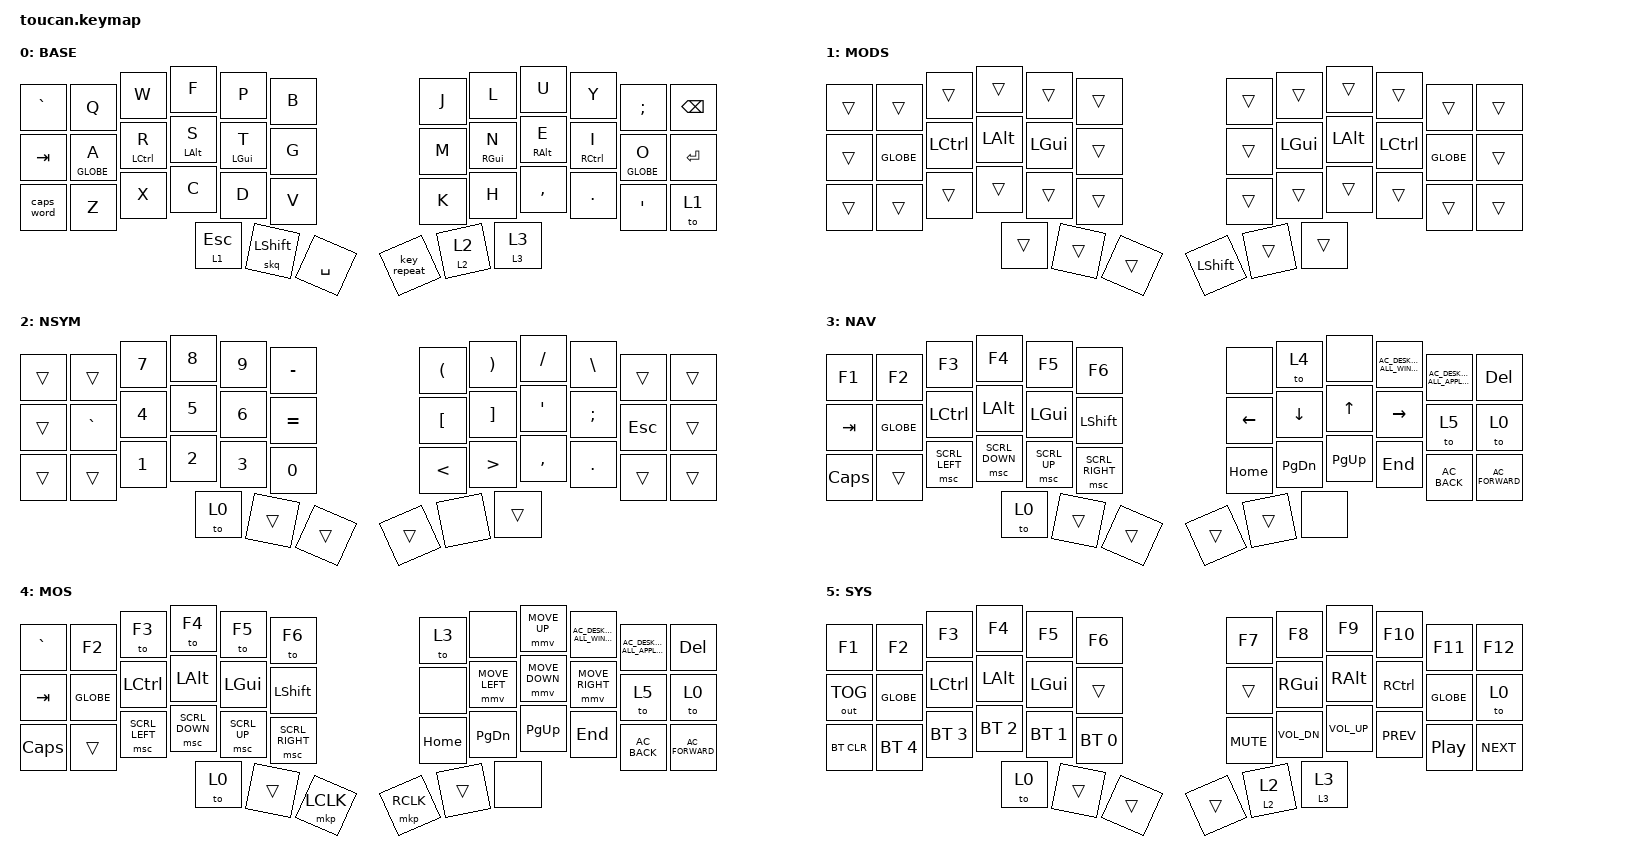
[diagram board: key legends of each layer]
#define ZMK_POINTING_DEFAULT_MOVE_VAL 20000
#define ZMK_POINTING_DEFAULT_SCRL_VAL 100

#include <behaviors.dtsi>
#include <dt-bindings/zmk/bt.h>
#include <dt-bindings/zmk/keys.h>
#include <dt-bindings/zmk/pointing.h>
#include <dt-bindings/zmk/outputs.h>

#define BASE 0
#define MODS 1
#define NUM_SYM 2
#define NAV 3
#define MOUSE 4
#define SYS 5

// dt-formatter: indent = "  "
// dt-formatter: reindentMultilineIntegerCells = "dedent"

&mmv { acceleration-exponent = <0>; };

/ {
  behaviors {
    hm: homerow_mods {
      compatible = "zmk,behavior-hold-tap";
      label = "HOMEROW_MODS";
      #binding-cells = <2>;
      tapping-term-ms = <300>;
      flavor = "balanced";
      bindings = <&kp>, <&kp>;

      quick-tap-ms = <200>;
      require-prior-idle-ms = <500>;
    };

    skq: sticky_key_quick_release {
      compatible = "zmk,behavior-sticky-key";
      bindings = <&kp>;
      #binding-cells = <1>;
      release-after-ms = <400>;
      quick-release;
      ignore-modifiers;
    };

    slq: slq {
      compatible = "zmk,behavior-sticky-key";
      label = "SLQ";
      bindings = <&mo>;
      #binding-cells = <1>;
      release-after-ms = <2000>;
      quick-release;
      ignore-modifiers;
    };

    moto: moto {
      compatible = "zmk,behavior-hold-tap";
      label = "MOTO";
      bindings = <&mo>, <&to>;

      #binding-cells = <2>;
      flavor = "hold-preferred";
      tapping-term-ms = <300>;
    };

    tm: tm {
      compatible = "zmk,behavior-hold-tap";
      label = "TM";
      bindings = <&mo>, <&kp>;

      #binding-cells = <2>;
      tapping-term-ms = <250>;
      hold-trigger-key-positions = <16 15 14 13 19 20 21 22>;
    };
  };

  combos { compatible = "zmk,combos"; };

  keymap {
    compatible = "zmk,keymap";

    base {
      display-name = "BASE";
      bindings = <
&kp GRAVE   &kp Q        &kp W        &kp F       &kp P       &kp B        &kp J        &kp L       &kp U       &kp Y        &kp SEMI     &kp BSPC
&kp TAB     &hm GLOBE A  &hm LCTRL R  &hm LALT S  &hm LGUI T  &kp G        &kp M        &hm RGUI N  &hm RALT E  &hm RCTRL I  &hm GLOBE O  &kp ENTER
&caps_word  &kp Z        &kp X        &kp C       &kp D       &kp V        &kp K        &kp H       &kp COMMA   &kp DOT      &kp SQT      &to 1
                                      &tm 1 ESC   &skq LSHFT  &kp SPACE    &key_repeat  &moto 2 2   &moto 3 3
      >;
    };

    mods {
      display-name = "MODS";
      bindings = <
&trans  &trans     &trans     &trans    &trans    &trans    &trans      &trans    &trans    &trans     &trans     &trans
&trans  &kp GLOBE  &kp LCTRL  &kp LALT  &kp LGUI  &trans    &trans      &kp LGUI  &kp LALT  &kp LCTRL  &kp GLOBE  &trans
&trans  &trans     &trans     &trans    &trans    &trans    &trans      &trans    &trans    &trans     &trans     &trans
                              &trans    &trans    &trans    &kp LSHIFT  &trans    &trans
      >;
    };

    num+symbols {
      display-name = "NSYM";
      bindings = <
&trans  &trans     &kp N7  &kp N8  &kp N9  &kp MINUS    &kp LEFT_PARENTHESIS  &kp RIGHT_PARENTHESIS  &kp FSLH   &kp BSLH  &trans   &trans
&trans  &kp GRAVE  &kp N4  &kp N5  &kp N6  &kp EQUAL    &kp LBKT              &kp RBKT               &kp SQT    &kp SEMI  &kp ESC  &trans
&trans  &trans     &kp N1  &kp N2  &kp N3  &kp N0       &kp LESS_THAN         &kp GREATER_THAN       &kp COMMA  &kp DOT   &trans   &trans
                           &to 0   &trans  &trans       &trans                &none                  &trans
      >;
    };

    nav+scrl {
      display-name = "NAV";
      bindings = <
&kp F1        &kp F2     &kp F3          &kp F4          &kp F5        &kp F6             &none     &to 4      &none      &kp C_AC_DESKTOP_SHOW_ALL_WINDOWS  &kp C_AC_DESKTOP_SHOW_ALL_APPLICATIONS  &kp DELETE
&kp TAB       &kp GLOBE  &kp LCTRL       &kp LALT        &kp LGUI      &kp LSHFT          &kp LEFT  &kp DOWN   &kp UP     &kp RIGHT                          &to 5                                   &to 0
&kp CAPSLOCK  &trans     &msc SCRL_LEFT  &msc SCRL_DOWN  &msc SCRL_UP  &msc SCRL_RIGHT    &kp HOME  &kp PG_DN  &kp PG_UP  &kp END                            &kp C_AC_BACK                           &kp C_AC_FORWARD
                                         &to 0           &trans        &trans             &trans    &trans     &none
      >;
    };

    MOUSE {
      display-name = "MOS";
      bindings = <
&kp GRAVE     &kp F2     &to F3          &to F4          &to F5        &to F6             &to 3      &none           &mmv MOVE_UP    &kp C_AC_DESKTOP_SHOW_ALL_WINDOWS  &kp C_AC_DESKTOP_SHOW_ALL_APPLICATIONS  &kp DELETE
&kp TAB       &kp GLOBE  &kp LCTRL       &kp LALT        &kp LGUI      &kp LSHFT          &none      &mmv MOVE_LEFT  &mmv MOVE_DOWN  &mmv MOVE_RIGHT                    &to 5                                   &to 0
&kp CAPSLOCK  &trans     &msc SCRL_LEFT  &msc SCRL_DOWN  &msc SCRL_UP  &msc SCRL_RIGHT    &kp HOME   &kp PG_DN       &kp PG_UP       &kp END                            &kp C_AC_BACK                           &kp C_AC_FORWARD
                                         &to 0           &trans        &mkp LCLK          &mkp RCLK  &trans          &none
      >;
    };

    fn+media {
      display-name = "SYS";
      bindings = <
&kp F1      &kp F2        &kp F3        &kp F4        &kp F5        &kp F6          &kp F7      &kp F8        &kp F9        &kp F10     &kp F11    &kp F12
&out OUT_TOG      &kp GLOBE     &kp LCTRL     &kp LALT      &kp LGUI      &trans          &trans      &kp RGUI      &kp RALT      &kp RCTRL   &kp GLOBE  &to 0
&bt BT_CLR  &bt BT_SEL 4  &bt BT_SEL 3  &bt BT_SEL 2  &bt BT_SEL 1  &bt BT_SEL 0    &kp K_MUTE  &kp C_VOL_DN  &kp C_VOL_UP  &kp C_PREV  &kp C_PP   &kp C_NEXT
                                        &to 0         &trans        &trans          &trans      &moto 2 2     &moto 3 3
      >;
    };
  };
};

